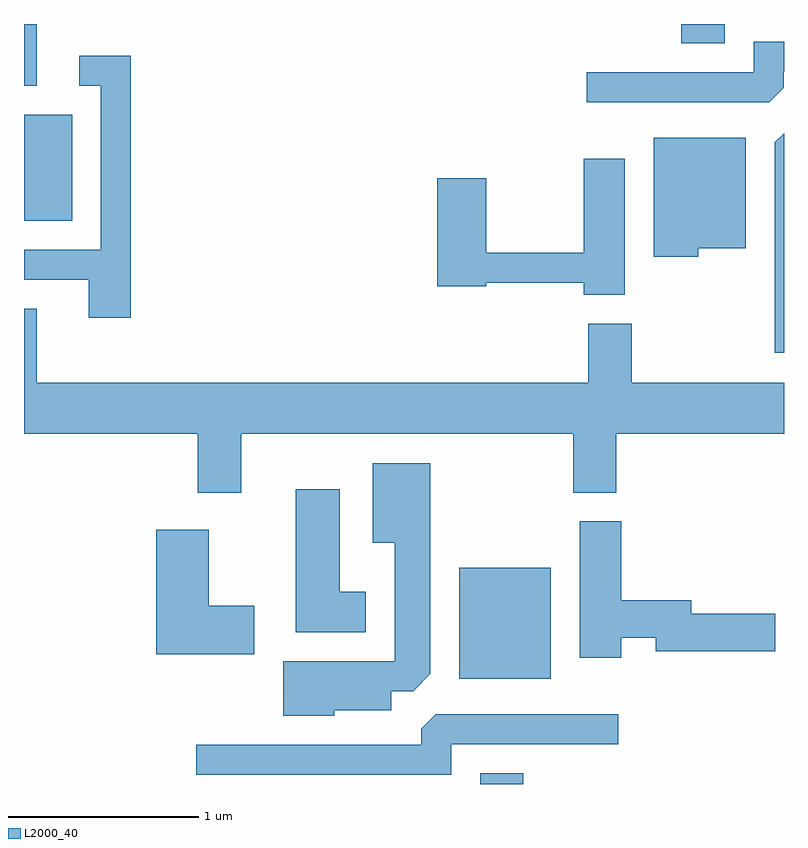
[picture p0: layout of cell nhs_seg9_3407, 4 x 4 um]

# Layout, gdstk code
import gdstk
lib = gdstk.Library(unit=1e-6, precision=1e-09)
def R(c, l, rs):  # rectangles x0, y0, x1, y1
    for r in rs: c.add(gdstk.rectangle(r[:2], r[2:], *l))
def P(c, l, *ps):  # polygons
    for p in ps: c.add(gdstk.Polygon(p, *l))
L2000_40 = (2000, 40)

nhs_seg9_3407 = lib.new_cell('nhs_seg9_3407')
R(nhs_seg9_3407, L2000_40, [(288.011,1974.432,288.239,1974.489), (287.901,1974.986,288.384,1975.569), (285.611,1977.396,285.864,1977.954), (285.611,1978.106,285.679,1978.432), (289.071,1978.331,289.299,1978.432)])
P(nhs_seg9_3407, L2000_40, [(289.609,1978.097),(289.609,1978.181),(289.611,1978.181),(289.611,1978.339),(289.451,1978.339),(289.451,1978.179),(288.573,1978.179),(288.573,1978.021),(289.534,1978.021)],
  [(286.174,1978.264),(285.903,1978.264),(285.903,1978.106),(286.016,1978.106),(286.016,1977.244),(285.611,1977.244),(285.611,1977.086),(285.951,1977.086),(285.951,1976.886),(286.174,1976.886)],
  [(289.611,1977.858),(289.561,1977.809),(289.561,1976.701),(289.611,1976.701)],
  [(289.159,1977.251),(289.409,1977.251),(289.409,1977.834),(288.926,1977.834),(288.926,1977.206),(289.159,1977.206)],
  [(288.774,1977.724),(288.556,1977.724),(288.556,1977.229),(288.044,1977.229),(288.044,1977.619),(287.786,1977.619),(287.786,1977.051),(288.044,1977.051),(288.044,1977.071),(288.556,1977.071),(288.556,1977.006),(288.774,1977.006)],
  [(286.754,1976.276),(288.501,1976.276),(288.501,1975.966),(288.729,1975.966),(288.729,1976.276),(289.611,1976.276),(289.611,1976.544),(288.809,1976.544),(288.809,1976.854),(288.581,1976.854),(288.581,1976.544),(285.679,1976.544),(285.679,1976.934),(285.611,1976.934),(285.611,1976.276),(286.526,1976.276),(286.526,1975.966),(286.754,1975.966)],
  [(287.244,1974.821),(287.544,1974.821),(287.544,1974.921),(287.659,1974.921),(287.749,1975.012),(287.749,1976.119),(287.446,1976.119),(287.446,1975.701),(287.561,1975.701),(287.561,1975.079),(286.976,1975.079),(286.976,1974.791),(287.244,1974.791)],
  [(287.409,1975.444),(287.274,1975.444),(287.274,1975.984),(287.041,1975.984),(287.041,1975.231),(287.409,1975.231)],
  [(288.754,1975.201),(288.936,1975.201),(288.936,1975.131),(289.564,1975.131),(289.564,1975.329),(289.124,1975.329),(289.124,1975.399),(288.754,1975.399),(288.754,1975.814),(288.536,1975.814),(288.536,1975.096),(288.754,1975.096)],
  [(286.824,1975.369),(286.584,1975.369),(286.584,1975.769),(286.306,1975.769),(286.306,1975.116),(286.824,1975.116)],
  [(287.859,1974.641),(288.738,1974.641),(288.738,1974.799),(287.777,1974.799),(287.701,1974.724),(287.701,1974.639),(286.518,1974.639),(286.518,1974.481),(287.859,1974.481)])

lib.write_gds('nhs_seg9_3407.gds')
